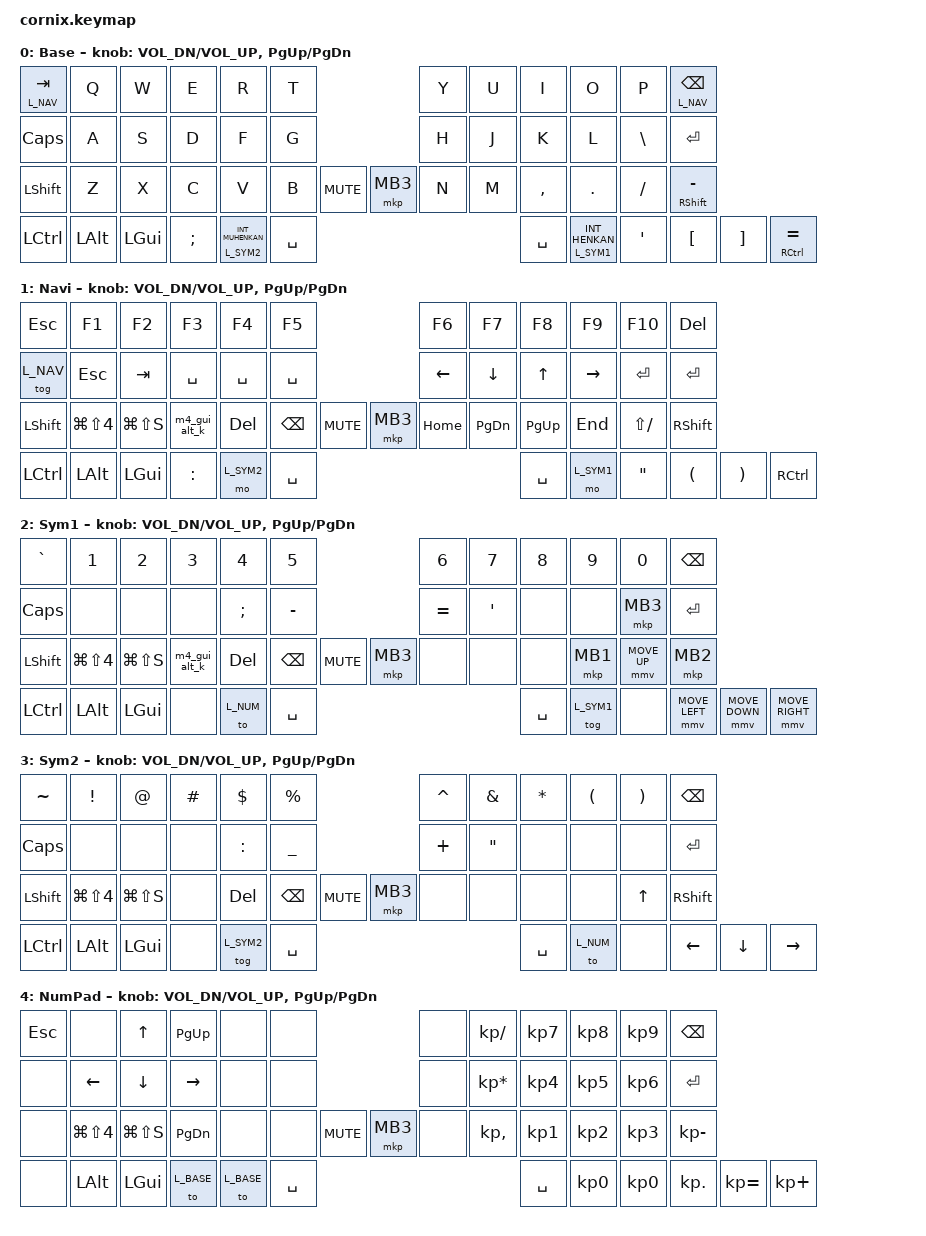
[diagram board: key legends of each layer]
/*
 * Copyright (c) 2020 The ZMK Contributors
 *
 * SPDX-License-Identifier: MIT
 */

#include "zmk-helpers/helper.h"
#include "includes/cornix54.h"
#include <behaviors.dtsi>
#include <dt-bindings/zmk/bt.h>
#include <dt-bindings/zmk/keys.h>
#include <dt-bindings/zmk/ext_power.h>
#include <dt-bindings/zmk/pointing.h>

#define L_BASE 0
#define L_NAV  1
#define L_SYM1 2
#define L_SYM2 3
#define L_NUM  4

/ {
    // --- マクロ定義 ---
    macros {
        m4_gui_alt_k: m4_gui_alt_k {
            compatible = "zmk,behavior-macro";
            #binding-cells = <0>;
            bindings = <&macro_press &kp LGUI &kp LALT>, <&macro_tap &kp K>, <&macro_release &kp LGUI &kp LALT>;
        };
    };

    // --- Hold-Tap / Tap-Dance 定義 ---
    behaviors {
        // レイヤーホールド / キー単押し
        lt_tab: lt_tab {
            compatible = "zmk,behavior-hold-tap";
            #binding-cells = <2>;
            flavor = "tap-preferred";
            tapping-term-ms = <200>;
            bindings = <&mo>, <&kp>;
        };
        lt_bspc: lt_bspc {
            compatible = "zmk,behavior-hold-tap";
            #binding-cells = <2>;
            flavor = "tap-preferred";
            tapping-term-ms = <200>;
            bindings = <&mo>, <&kp>;
        };

        // Mod-Tap
        mt_shift: mt_shift {
            compatible = "zmk,behavior-hold-tap";
            #binding-cells = <2>;
            flavor = "tap-preferred";
            tapping-term-ms = <200>;
            bindings = <&kp>, <&kp>;
        };
        mt_ctrl: mt_ctrl {
            compatible = "zmk,behavior-hold-tap";
            #binding-cells = <2>;
            flavor = "tap-preferred";
            tapping-term-ms = <200>;
            bindings = <&kp>, <&kp>;
        };

        // 単押し言語切替 / ホールドでレイヤー
        lt_lang2: lt_lang2 {
            compatible = "zmk,behavior-hold-tap";
            #binding-cells = <2>;
            flavor = "tap-preferred";
            tapping-term-ms = <200>;
            bindings = <&mo>, <&kp>;
        };
        lt_lang1: lt_lang1 {
            compatible = "zmk,behavior-hold-tap";
            #binding-cells = <2>;
            flavor = "tap-preferred";
            tapping-term-ms = <200>;
            bindings = <&mo>, <&kp>;
        };
    };

    // --- Combos (同時押し) 定義 ---
    combos {
        compatible = "zmk,combos";
        combo_space { timeout-ms = <50>; key-positions = <15 16>; bindings = <&kp SPACE>; layers = <0 1>; }; // D + F
        combo_tab   { timeout-ms = <50>; key-positions = <14 15 16>; bindings = <&kp TAB>; layers = <0 1>; }; // S + D + F
        combo_esc   { timeout-ms = <50>; key-positions = <13 14 15 16>; bindings = <&kp ESC>; layers = <0 1>; }; // A + S + D + F

        combo_bspc  { timeout-ms = <50>; key-positions = <19 20>; bindings = <&kp BSPC>; layers = <0 1>; }; // J + K
        combo_del   { timeout-ms = <50>; key-positions = <19 20 21>; bindings = <&kp DELETE>; layers = <0 1>; }; // J + K + L

        combo_lpar  { timeout-ms = <50>; key-positions = <27 28>; bindings = <&kp LPAR>; layers = <0 1>; }; // C + V -> (
        combo_lbrc  { timeout-ms = <50>; key-positions = <26 27 28>; bindings = <&kp LBRC>; layers = <0 1>; }; // X + C + V -> {
        combo_lbkt  { timeout-ms = <50>; key-positions = <25 26 27 28>; bindings = <&kp LBKT>; layers = <0 1>; }; // Z + X + C + V -> [

        combo_rpar  { timeout-ms = <50>; key-positions = <31 32>; bindings = <&kp RPAR>; layers = <0 1>; }; // M + COMMA -> )
        combo_rbrc  { timeout-ms = <50>; key-positions = <31 32 33>; bindings = <&kp RBRC>; layers = <0 1>; }; // M + COMMA + DOT -> }
        combo_rbkt  { timeout-ms = <50>; key-positions = <31 32 33 34>; bindings = <&kp RBKT>; layers = <0 1>; }; // M + COMMA + DOT + FSLH -> ]

        combo_to_num { timeout-ms = <50>; key-positions = <40 43>; bindings = <&to L_NUM>; layers = <0 1 2 3>; }; // 親指両押しでNumPadへ
    };

    keymap {
        compatible = "zmk,keymap";

        // Layer 0: Base
        default_layer {
            display-name = "Base";
            bindings = <
&lt_tab L_NAV TAB   &kp Q      &kp W      &kp E       &kp R     &kp T                                        &kp Y     &kp U     &kp I      &kp O      &kp P         &lt_bspc L_NAV BSPC
&kp CAPSLOCK        &kp A      &kp S      &kp D       &kp F     &kp G                                        &kp H     &kp J     &kp K      &kp L      &kp BSLH      &kp RET
&kp LSHFT           &kp Z      &kp X      &kp C       &kp V     &kp B      &kp C_MUTE &mkp MB3               &kp N     &kp M     &kp COMMA  &kp DOT    &kp FSLH      &mt_shift RSHIFT MINUS
&kp LCTRL           &kp LALT   &kp LGUI   &kp SEMI    &lt_lang2 L_SYM2 INT_MUHENKAN &kp SPACE                &kp SPACE &lt_lang1 L_SYM1 INT_HENKAN &kp SQT &kp LBKT &kp RBKT &mt_ctrl RCTRL EQUAL
            >;
            sensor-bindings = <&inc_dec_kp C_VOL_DN C_VOL_UP &inc_dec_kp PG_UP PG_DN>;
        };

        // Layer 1: Nav / Function
        nav_layer {
            display-name = "Navi";
            bindings = <
&kp ESC    &kp F1        &kp F2        &kp F3     &kp F4    &kp F5                                  &kp F6    &kp F7    &kp F8     &kp F9     &kp F10       &kp DEL
&tog L_NAV &kp ESC       &kp TAB       &kp SPACE  &kp SPACE &kp SPACE                               &kp LEFT  &kp DOWN  &kp UP     &kp RIGHT  &kp RET       &kp RET
&kp LSHFT  &kp LG(LS(N4)) &kp LG(LS(S)) &m4_gui_alt_k &kp DEL &kp BSPC &kp C_MUTE &mkp MB3          &kp HOME  &kp PG_DN &kp PG_UP  &kp END    &kp LS(FSLH)  &kp RSHFT
&kp LCTRL  &kp LALT      &kp LGUI      &kp COLON  &mo L_SYM2 &kp SPACE                              &kp SPACE &mo L_SYM1 &kp DQT   &kp LPAR   &kp RPAR      &kp RCTRL
            >;
            sensor-bindings = <&inc_dec_kp C_VOL_DN C_VOL_UP &inc_dec_kp PG_UP PG_DN>;
        };

        // Layer 2: Symbols / Mouse 1
        sym1_layer {
            display-name = "Sym1";
            bindings = <
&kp GRAVE  &kp N1        &kp N2        &kp N3     &kp N4    &kp N5                                  &kp N6    &kp N7    &kp N8     &kp N9     &kp N0        &kp BSPC
&kp CLCK   &none         &none         &none      &kp SEMI  &kp MINUS                               &kp EQUAL &kp SQT   &none      &none      &mkp MB3      &kp RET
&kp LSHFT  &kp LG(LS(N4)) &kp LG(LS(S)) &m4_gui_alt_k &kp DEL &kp BSPC &kp C_MUTE &mkp MB3          &none     &none     &none      &mkp MB1   &mmv MOVE_UP  &mkp MB2
&kp LCTRL  &kp LALT      &kp LGUI      &none      &to L_NUM &kp SPACE                               &kp SPACE &tog L_SYM1 &none    &mmv MOVE_LEFT &mmv MOVE_DOWN &mmv MOVE_RIGHT
            >;
            sensor-bindings = <&inc_dec_kp C_VOL_DN C_VOL_UP &inc_dec_kp PG_UP PG_DN>;
        };

        // Layer 3: Shifted Symbols
        sym2_layer {
            display-name = "Sym2";
            bindings = <
&kp TILDE  &kp EXCL      &kp AT        &kp HASH   &kp DLLR  &kp PRCNT                               &kp CARET &kp AMPS  &kp STAR   &kp LPAR   &kp RPAR      &kp BSPC
&kp CLCK   &none         &none         &none      &kp COLON &kp UNDER                               &kp PLUS  &kp DQT   &none      &none      &none         &kp RET
&kp LSHFT  &kp LG(LS(N4)) &kp LG(LS(S)) &none      &kp DEL   &kp BSPC &kp C_MUTE &mkp MB3          &none     &none     &none      &none      &kp UP        &kp RSHFT
&kp LCTRL  &kp LALT      &kp LGUI      &none      &tog L_SYM2 &kp SPACE                             &kp SPACE &to L_NUM &none      &kp LEFT   &kp DOWN      &kp RIGHT
            >;
            sensor-bindings = <&inc_dec_kp C_VOL_DN C_VOL_UP &inc_dec_kp PG_UP PG_DN>;
        };

        // Layer 4: Numpad
        num_layer {
            display-name = "NumPad";
            bindings = <
&kp ESC    &none         &kp UP        &kp PG_UP  &none     &none                                   &none     &kp KP_SLASH    &kp KP_N7 &kp KP_N8 &kp KP_N9 &kp BSPC
&none      &kp LEFT      &kp DOWN      &kp RIGHT  &none     &none                                   &none     &kp KP_MULTIPLY &kp KP_N4 &kp KP_N5 &kp KP_N6 &kp RET
&none      &kp LG(LS(N4)) &kp LG(LS(S)) &kp PG_DN &none     &none    &kp C_MUTE &mkp MB3            &none     &kp KP_COMMA    &kp KP_N1 &kp KP_N2 &kp KP_N3 &kp KP_MINUS
&none      &kp LALT      &kp LGUI      &to L_BASE &to L_BASE &kp SPACE                              &kp SPACE &kp KP_N0       &kp KP_N0 &kp KP_DOT &kp KP_EQUAL &kp KP_PLUS
            >;
            sensor-bindings = <&inc_dec_kp C_VOL_DN C_VOL_UP &inc_dec_kp PG_UP PG_DN>;
        };
    };
};
